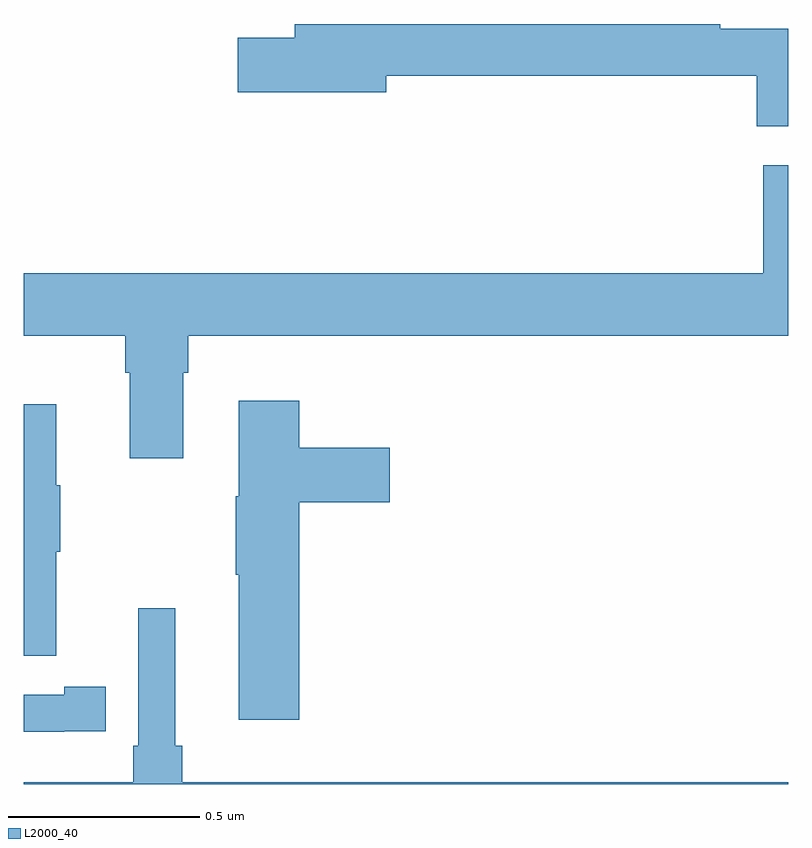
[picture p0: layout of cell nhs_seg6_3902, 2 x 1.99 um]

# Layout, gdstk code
import gdstk
lib = gdstk.Library(unit=1e-6, precision=1e-09)
def P(c, l, *ps):  # polygons
    for p in ps: c.add(gdstk.Polygon(p, *l))
L2000_40 = (2000, 40)

nhs_seg6_3902 = lib.new_cell('nhs_seg6_3902')
P(nhs_seg6_3902, L2000_40, [(165,945.475),(164.822,945.475),(164.822,945.488),(163.709,945.488),(163.709,945.452),(163.56,945.452),(163.56,945.31),(163.948,945.31),(163.948,945.352),(164.918,945.352),(164.918,945.221),(165,945.221)],
  [(163.417,944.576),(163.43,944.576),(163.43,944.672),(165,944.672),(165,945.118),(164.934,945.118),(164.934,944.836),(163,944.836),(163,944.672),(163.265,944.672),(163.265,944.576),(163.277,944.576),(163.277,944.352),(163.417,944.352)],
  [(163.721,944.237),(163.957,944.237),(163.957,944.379),(163.721,944.379),(163.721,944.503),(163.562,944.503),(163.562,944.253),(163.555,944.253),(163.555,944.047),(163.562,944.047),(163.562,943.668),(163.721,943.668)],
  [(163.085,944.107),(163.096,944.107),(163.096,944.281),(163.085,944.281),(163.085,944.494),(163,944.494),(163,943.836),(163.085,943.836)],
  [(165,943.504),(163.415,943.504),(163.415,943.6),(163.396,943.6),(163.396,943.96),(163.299,943.96),(163.299,943.6),(163.286,943.6),(163.286,943.504),(163,943.504),(163,943.5),(165,943.5)],
  [(163.106,943.638),(163.214,943.638),(163.214,943.754),(163.106,943.754),(163.106,943.734),(163,943.734),(163,943.637),(163.106,943.637)])

lib.write_gds('nhs_seg6_3902.gds')
